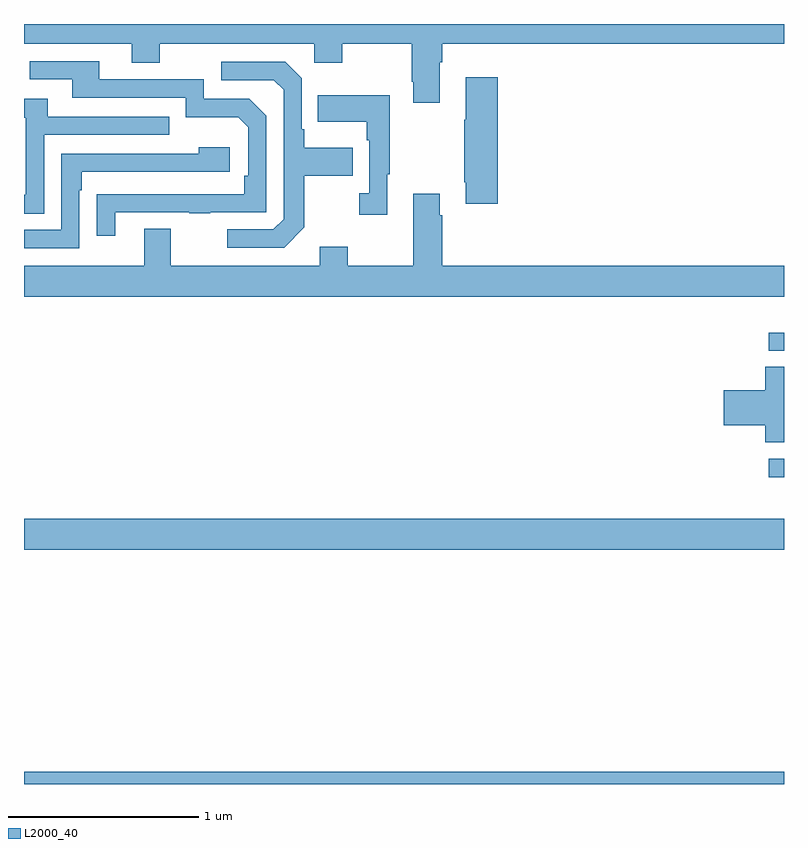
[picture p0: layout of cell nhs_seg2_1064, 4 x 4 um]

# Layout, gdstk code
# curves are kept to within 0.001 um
import gdstk
lib = gdstk.Library(unit=1e-6, precision=1e-09)
def R(c, l, rs):  # rectangles x0, y0, x1, y1
    for r in rs: c.add(gdstk.rectangle(r[:2], r[2:], *l))
def P(c, l, *ps):  # polygons
    for p in ps: c.add(gdstk.Polygon(p, *l))
L2000_40 = (2000, 40)

nhs_seg2_1064 = lib.new_cell('nhs_seg2_1064')
R(nhs_seg2_1064, L2000_40, [(167,583.8,171,583.864), (167,585.032,171,585.196), (170.919,585.415,171,585.513), (170.919,586.08,171,586.176)])
P(nhs_seg2_1064, L2000_40, [(169.189,587.6),(169.202,587.6),(169.202,587.696),(171,587.696),(171,587.8),(167,587.8),(167,587.696),(167.567,587.696),(167.567,587.597),(167.715,587.597),(167.715,587.696),(168.528,587.696),(168.528,587.597),(168.675,587.597),(168.675,587.696),(169.042,587.696),(169.042,587.497),(169.049,587.497),(169.049,587.385),(169.189,587.385)],
  [(167.479,586.809),(167.869,586.809),(167.869,586.804),(167.981,586.804),(167.981,586.809),(168.276,586.809),(168.276,587.316),(168.186,587.406),(167.946,587.406),(167.946,587.508),(167.395,587.508),(167.395,587.604),(167.031,587.604),(167.031,587.508),(167.255,587.508),(167.255,587.412),(167.85,587.412),(167.85,587.309),(168.127,587.309),(168.18,587.256),(168.18,587.002),(168.16,587.002),(168.16,586.905),(167.383,586.904),(167.383,586.686),(167.479,586.686)],
  [(168.475,586.729),(168.475,587.002),(168.731,587.002),(168.731,587.149),(168.475,587.149),(168.475,587.245),(168.462,587.245),(168.462,587.514),(168.375,587.601),(168.039,587.601),(168.039,587.505),(168.315,587.505),(168.366,587.454),(168.366,586.773),(168.312,586.719),(168.069,586.719),(168.069,586.623),(168.369,586.623)],
  [(169.493,587.521),(169.325,587.521),(169.325,587.297),(169.318,587.297),(169.318,586.966),(169.325,586.966),(169.325,586.854),(169.493,586.854)],
  [(168.913,587.009),(168.925,587.009),(168.925,587.425),(168.547,587.425),(168.547,587.285),(168.804,587.285),(168.804,587.189),(168.816,587.189),(168.816,586.91),(168.765,586.91),(168.765,586.797),(168.913,586.797)],
  [(167.106,587.217),(167.765,587.217),(167.765,587.313),(167.125,587.313),(167.125,587.407),(167,587.407),(167,587.307),(167.01,587.307),(167.01,586.902),(167,586.902),(167,586.801),(167.106,586.801)],
  [(167.292,586.925),(167.305,586.925),(167.305,587.022),(168.082,587.022),(168.082,587.152),(167.921,587.152),(167.921,587.118),(167.196,587.118),(167.196,586.716),(167,586.716),(167,586.62),(167.292,586.62)],
  [(171,586.528),(169.202,586.528),(169.202,586.793),(169.189,586.793),(169.189,586.906),(169.049,586.906),(169.049,586.528),(168.705,586.528),(168.705,586.627),(168.557,586.627),(168.557,586.528),(167.773,586.528),(167.773,586.723),(167.633,586.723),(167.633,586.528),(167,586.528),(167,586.364),(171,586.364)],
  [(171,585.995),(170.9,585.995),(170.9,585.872),(170.682,585.872),(170.682,585.689),(170.9,585.689),(170.9,585.598),(171,585.598)])

lib.write_gds('nhs_seg2_1064.gds')
